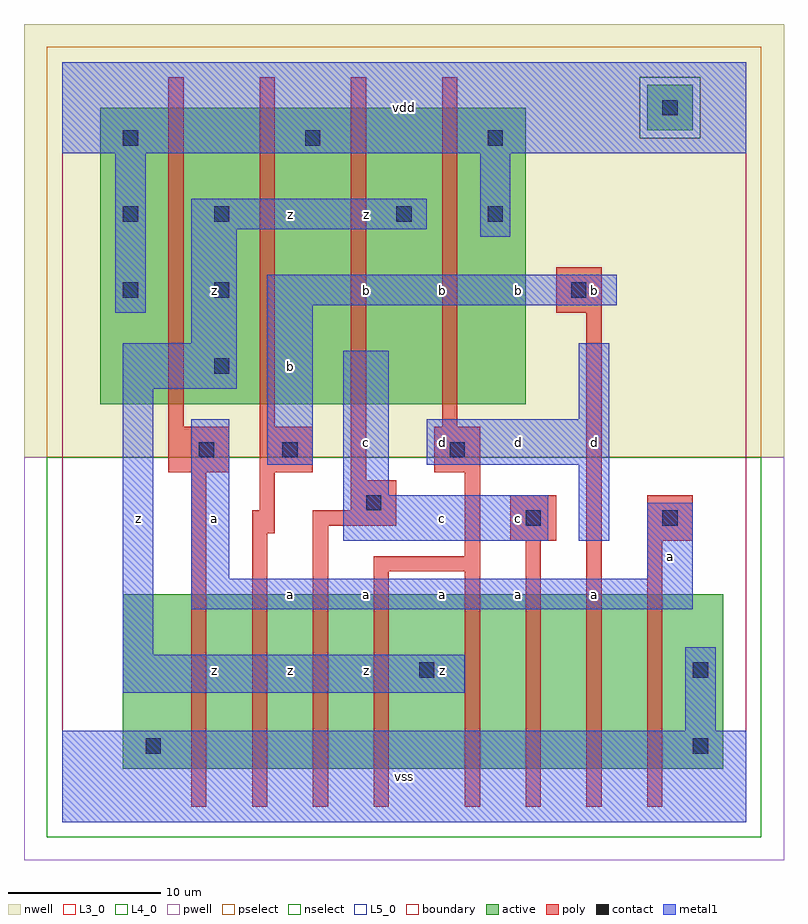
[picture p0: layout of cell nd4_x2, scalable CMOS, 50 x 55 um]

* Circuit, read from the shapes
.subckt nd4_x2 a b c d vdd vss z
M1 n1 a vss VSUBS nfet w=11.5u l=1u
M2 n2 b n1 VSUBS nfet w=11.5u l=1u
M3 n3 c n2 VSUBS nfet w=11.5u l=1u
M4 z d n3 VSUBS nfet w=11.5u l=1u
M5 n4 d z VSUBS nfet w=11.5u l=1u
M6 n5 c n4 VSUBS nfet w=11.5u l=1u
M7 n6 b n5 VSUBS nfet w=11.5u l=1u
M8 vss a n6 VSUBS nfet w=11.5u l=1u
M9 z a vdd vdd pfet w=19.5u l=1u
M10 vdd b z vdd pfet w=19.5u l=1u
M11 z c vdd vdd pfet w=19.5u l=1u
M12 vdd d z vdd pfet w=19.5u l=1u
.ends

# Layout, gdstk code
import gdstk
lib = gdstk.Library(unit=1e-6, precision=1e-09)
def R(c, l, rs):  # rectangles x0, y0, x1, y1
    for r in rs: c.add(gdstk.rectangle(r[:2], r[2:], *l))
def A(c, l, x, y, w, h, nx, ny, dx, dy):  # array of equal rectangles
    R(c, l, [(x+i*dx, y+j*dy, x+i*dx+w, y+j*dy+h) for i in range(nx) for j in range(ny)])
L3_0 = (3, 0)
L4_0 = (4, 0)
L5_0 = (5, 0)
contact = (25, 0)
pwell = (41, 0)
nwell = (42, 0)
active = (43, 0)
pselect = (44, 0)
nselect = (45, 0)
poly = (46, 0)
metal1 = (49, 0)
boundary = (63, 0)

nd4_x2 = lib.new_cell('nd4_x2')
R(nd4_x2, L3_0, [(4,3.5,43.5,15)])
R(nd4_x2, L4_0, [(2.5,27.5,30.5,47)])
R(nd4_x2, L5_0, [(38.5,45.5,41.5,48.5)])
A(nd4_x2, contact, 10, 29.5, 1, 1, 1, 3, 0, 5)
A(nd4_x2, contact, 4, 44.5, 1, 1, 3, 1, 12, 0)
R(nd4_x2, contact, [(5.5,4.5,6.5,5.5), (41.5,4.5,42.5,5.5), (23.5,9.5,24.5,10.5), (41.5,9.5,42.5,10.5), (30.5,19.5,31.5,20.5), (39.5,19.5,40.5,20.5), (20,20.5,21,21.5), (9,24,10,25), (14.5,24,15.5,25), (25.5,24,26.5,25), (4,34.5,5,35.5), (33.5,34.5,34.5,35.5), (4,39.5,5,40.5), (22,39.5,23,40.5), (28,39.5,29,40.5), (39.5,46.5,40.5,47.5)])
R(nd4_x2, pwell, [(-2.5,-2.5,47.5,24)])
R(nd4_x2, nwell, [(-2.5,24,47.5,52.5)])
R(nd4_x2, active, [(4,3.5,43.5,15), (2.5,27.5,30.5,47), (38.5,45.5,41.5,48.5)])
R(nd4_x2, pselect, [(-1,24,46,45), (-1,45,38,49), (42,45,46,49), (-1,49,46,51)])
R(nd4_x2, nselect, [(-1,-1,46,24), (38,45,42,49)])
R(nd4_x2, poly, [(8.5,1,9.5,23), (12.5,1,13.5,19), (16.5,1,17.5,19.5), (20.5,1,21.5,16.5), (26.5,1,27.5,16.5), (30.5,1,31.5,18.5), (34.5,1,35.5,33.5), (38.5,1,39.5,18.5), (20.5,16.5,27.5,17.5), (26.5,17.5,27.5,23), (29.5,18.5,32.5,21.5), (38.5,18.5,41.5,21.5), (12.5,19,14,20.5), (16.5,19.5,22,20.5), (13,20.5,14,23), (19,20.5,22,22.5), (19,22.5,20,49), (7,23,11,26), (13,23,16.5,26), (24.5,23,27.5,26), (7,26,8,49), (13,26,14,49), (25,26,26,49), (32.5,33.5,35.5,36.5)])
R(nd4_x2, metal1, [(0,0,45,6), (0,0,45,6), (41,6,43,11.5), (41,6,43,11.5), (4,8.5,26.5,11), (4,8.5,26.5,11), (4,11,6,28.5), (4,11,6,28.5), (8.5,14,41.5,16), (8.5,14,41.5,16), (8.5,16,11,26.5), (8.5,16,11,26.5), (38.5,16,41.5,21), (38.5,16,41.5,21), (18.5,18.5,32,21.5), (18.5,18.5,32,21.5), (34,18.5,36,23.5), (34,18.5,36,23.5), (18.5,21.5,21.5,31), (18.5,21.5,21.5,31), (13.5,23.5,16.5,34), (13.5,23.5,16.5,34), (24,23.5,36,26.5), (24,23.5,36,26.5), (34,26.5,36,31.5), (34,26.5,36,31.5), (4,28.5,11.5,31.5), (4,28.5,11.5,31.5), (8.5,31.5,11.5,39), (8.5,31.5,11.5,39), (3.5,33.5,5.5,44), (3.5,33.5,5.5,44), (13.5,34,36.5,36), (13.5,34,36.5,36), (27.5,38.5,29.5,44), (27.5,38.5,29.5,44), (8.5,39,24,41), (8.5,39,24,41), (0,44,45,50), (0,44,45,50)])
R(nd4_x2, boundary, [(0,0,45,50)])
nd4_x2.add(gdstk.Label('z', (5,20), layer=49, texttype=0))
nd4_x2.add(gdstk.Label('z', (15,10), layer=49, texttype=0))
nd4_x2.add(gdstk.Label('z', (10,10), layer=49, texttype=0))
nd4_x2.add(gdstk.Label('a', (15,15), layer=49, texttype=0))
nd4_x2.add(gdstk.Label('a', (10,20), layer=49, texttype=0))
nd4_x2.add(gdstk.Label('b', (15,30), layer=49, texttype=0))
nd4_x2.add(gdstk.Label('z', (10,35), layer=49, texttype=0))
nd4_x2.add(gdstk.Label('z', (15,40), layer=49, texttype=0))
nd4_x2.add(gdstk.Label('vss', (22.5,3), layer=49, texttype=0))
nd4_x2.add(gdstk.Label('z', (20,10), layer=49, texttype=0))
nd4_x2.add(gdstk.Label('z', (25,10), layer=49, texttype=0))
nd4_x2.add(gdstk.Label('a', (20,15), layer=49, texttype=0))
nd4_x2.add(gdstk.Label('a', (25,15), layer=49, texttype=0))
nd4_x2.add(gdstk.Label('c', (25,20), layer=49, texttype=0))
nd4_x2.add(gdstk.Label('c', (20,25), layer=49, texttype=0))
nd4_x2.add(gdstk.Label('d', (25,25), layer=49, texttype=0))
nd4_x2.add(gdstk.Label('b', (25,35), layer=49, texttype=0))
nd4_x2.add(gdstk.Label('b', (20,35), layer=49, texttype=0))
nd4_x2.add(gdstk.Label('z', (20,40), layer=49, texttype=0))
nd4_x2.add(gdstk.Label('vdd', (22.5,47), layer=49, texttype=0))
nd4_x2.add(gdstk.Label('a', (30,15), layer=49, texttype=0))
nd4_x2.add(gdstk.Label('a', (35,15), layer=49, texttype=0))
nd4_x2.add(gdstk.Label('c', (30,20), layer=49, texttype=0))
nd4_x2.add(gdstk.Label('d', (35,25), layer=49, texttype=0))
nd4_x2.add(gdstk.Label('d', (30,25), layer=49, texttype=0))
nd4_x2.add(gdstk.Label('b', (35,35), layer=49, texttype=0))
nd4_x2.add(gdstk.Label('b', (30,35), layer=49, texttype=0))
nd4_x2.add(gdstk.Label('a', (40,17.5), layer=49, texttype=0))

lib.write_gds('nd4_x2.gds')
